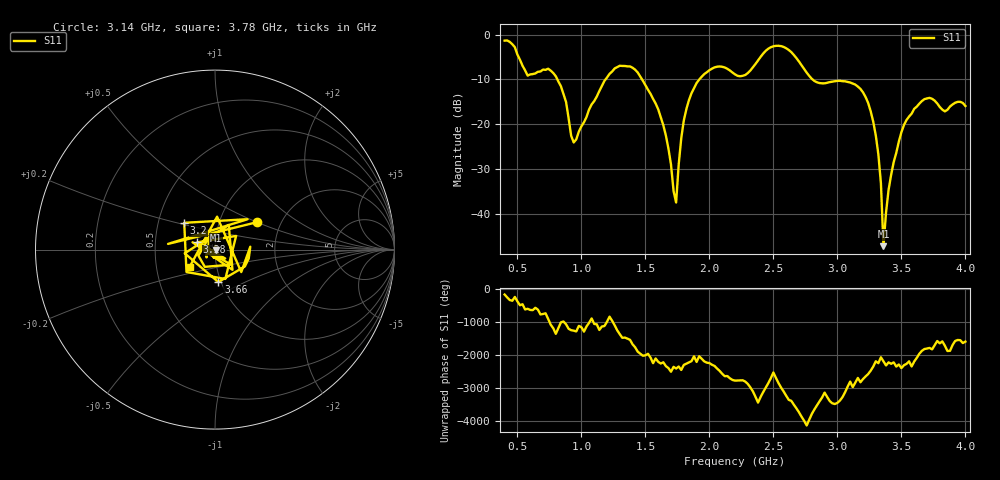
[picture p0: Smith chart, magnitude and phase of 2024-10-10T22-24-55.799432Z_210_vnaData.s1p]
! Created with skrf (http://scikit-rf.org).
# Hz S RI R 50.0
!freq ReS11 ImS11
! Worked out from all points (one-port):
!   181 points, 400 MHz to 4 GHz, reference 50 ohm
!   lowest |S11| = -47.2 dB at 3.36 GHz (marker M1), VSWR 1.01, Z = 50.3 - j0.315 ohm
!   |S11| at or under -10 dB: 812.4 MHz to 1.188 GHz (375.8 MHz wide, 37.6 % of centre); 1.474 GHz to 1.921 GHz (446.2 MHz wide, 26.3 % of centre); 2.806 GHz to end of sweep
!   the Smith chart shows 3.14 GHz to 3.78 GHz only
!   S11 on the Smith chart (normalised r, x): 3.14 GHz: 1.51, +0.50; 3.2 GHz: 0.68, +0.21; 3.28 GHz: 0.82, +0.07; 3.66 GHz: 0.97, -0.36; 3.78 GHz: 0.74, -0.15
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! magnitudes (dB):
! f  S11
! 400 MHz  -1.3
! 580 MHz  -9.1
! 740 MHz  -7.6
! 860 MHz  -13.3
! 940 MHz  -24.0
! 1.3 GHz  -6.9
! 1.44 GHz  -8.4
! 1.6 GHz  -16.6
! 1.68 GHz  -25.4
! 1.74 GHz  -37.4
! 1.76 GHz  -29.0
! 1.8 GHz  -19.1
! 1.9 GHz  -10.8
! 2.2 GHz  -8.9
! 2.5 GHz  -2.6
! 2.66 GHz  -4.5
! 2.84 GHz  -10.6
! 3.1 GHz  -10.7
! 3.14 GHz  -11.1
! 3.2 GHz  -12.9
! 3.28 GHz  -19.4
! 3.34 GHz  -33.1
! 3.36 GHz  -47.2
! 3.42 GHz  -31.2
! 3.56 GHz  -18.3
! 3.66 GHz  -14.8
! 3.78 GHz  -15.4
! 4 GHz  -15.9
